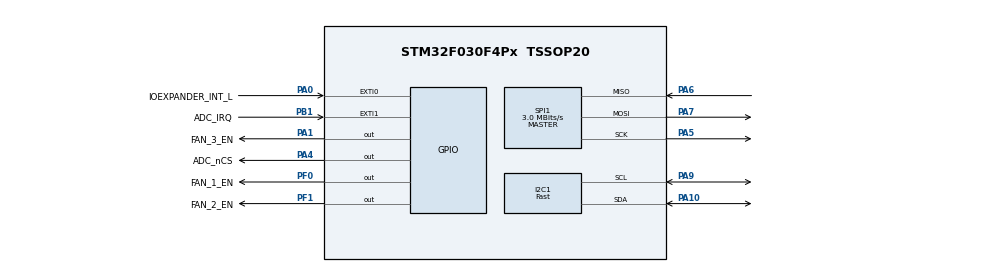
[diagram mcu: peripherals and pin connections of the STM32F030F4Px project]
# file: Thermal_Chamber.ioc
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I2C1.I2C_Speed_Mode=I2C_Fast
I2C1.Speed=400
I2C1.Timing=0x0000020B
Mcu.Family=STM32F0
Mcu.Name=STM32F030F4Px
Mcu.Package=TSSOP20
NVIC.EXTI0_1_IRQn=true\:0\:0\:false\:false\:true\:true\:true\:true
NVIC.SPI1_IRQn=true\:0\:0\:false\:false\:true\:true\:true\:true
PA0.GPIO_Label=IOEXPANDER_INT_L
PA0.GPIO_ModeDefaultEXTI=GPIO_MODE_IT_FALLING
PA0.GPIO_PuPd=GPIO_PULLUP
PA0.Signal=GPXTI0
PA1.GPIO_Label=FAN_3_EN
PA1.Signal=GPIO_Output
PA10.Mode=I2C
PA10.Signal=I2C1_SDA
PA13.Mode=Serial_Wire
PA13.Signal=SYS_SWDIO
PA14.Mode=Serial_Wire
PA14.Signal=SYS_SWCLK
PA4.GPIO_Label=ADC_nCS
PA4.GPIO_ModeDefaultOutputPP=GPIO_MODE_OUTPUT_PP
PA4.GPIO_PuPd=GPIO_PULLUP
PA4.GPIO_Speed=GPIO_SPEED_FREQ_HIGH
PA4.PinState=GPIO_PIN_SET
PA4.Signal=GPIO_Output
PA5.Mode=Full_Duplex_Master
PA5.Signal=SPI1_SCK
PA6.Mode=Full_Duplex_Master
PA6.Signal=SPI1_MISO
PA7.Mode=Full_Duplex_Master
PA7.Signal=SPI1_MOSI
PA9.Mode=I2C
PA9.Signal=I2C1_SCL
PB1.GPIO_Label=ADC_IRQ
PB1.GPIO_ModeDefaultEXTI=GPIO_MODE_IT_FALLING
PB1.GPIO_PuPd=GPIO_PULLUP
PB1.Signal=GPXTI1
PF0-OSC_IN.GPIO_Label=FAN_1_EN
PF0-OSC_IN.Signal=GPIO_Output
PF1-OSC_OUT.GPIO_Label=FAN_2_EN
PF1-OSC_OUT.Signal=GPIO_Output
ProjectManager.HeapSize=0x200
ProjectManager.StackSize=0x400
ProjectManager.TargetToolchain=STM32CubeIDE
RCC.AHBFreq_Value=48000000
RCC.APB1Freq_Value=48000000
RCC.APB1TimFreq_Value=48000000
RCC.HCLKFreq_Value=48000000
RCC.PLLMUL=RCC_PLL_MUL12
RCC.SYSCLKFreq_VALUE=48000000
RCC.SYSCLKSource=RCC_SYSCLKSOURCE_PLLCLK
SPI1.BaudRatePrescaler=SPI_BAUDRATEPRESCALER_16
SPI1.CLKPhase=SPI_PHASE_1EDGE
SPI1.CLKPolarity=SPI_POLARITY_LOW
SPI1.CalculateBaudRate=3.0 MBits/s
SPI1.DataSize=SPI_DATASIZE_8BIT
SPI1.Direction=SPI_DIRECTION_2LINES
SPI1.Mode=SPI_MODE_MASTER
SPI1.NSSPMode=SPI_NSS_PULSE_ENABLE
SPI1.VirtualType=VM_MASTER
board=custom

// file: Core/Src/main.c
/* USER CODE BEGIN Header */
/**
  ******************************************************************************
  * @file           : main.c
  * @brief          : Main program body
  ******************************************************************************
  * @attention
  *
  * Copyright (c) 2024 STMicroelectronics.
  * All rights reserved.
  *
  * This software is licensed under terms that can be found in the LICENSE file
  * in the root directory of this software component.
  * If no LICENSE file comes with this software, it is provided AS-IS.
  *
  ******************************************************************************
  */

/*
 * TO DO:
 * 0. EEPROM Value for DAC!!!!!!!!!!!!!!
 *
 *
 * 1. Humidity Sensor
 * 1.1. Temperature sensor
 * 2. PID
 * 3. FAN thresholds definition
 *
 *
 *
 *
 *
 * 6. Changed GPIO from HAL to LL
 *
 *
 *
 */

/* USER CODE END Header */
#include "main.h"

/* USER CODE BEGIN Includes */

#include "IO_Expander.h"
#include "DAC_MCP4726.h"
#include "ADC_MCP3464.h"

#include "SSD1306.h"
#include "SSD1306_fonts.h"

/* USER CODE END Includes */

I2C_HandleTypeDef hi2c1;

SPI_HandleTypeDef hspi1;

/* USER CODE BEGIN PV */

ADC_Handle_t MyADC;
DAC_Handle_t MyDAC;
Expander_Handle_t MyExpander;

int flag = 0;

typedef enum
{
	StandBy = 0U,
	Heating,
	Cooling
} Mode_of_Operation;

Mode_of_Operation TCCU_Mode = StandBy;

float Voltage = 0;
float VoltageCh1 = 0;
float VoltageCh2 = 0;
float VoltageCh3 = 0;
float VoltageCh4 = 0;

const float ResistanceCh1 = 1000;			// I will remove it, it is bullshit

float ResistanceCh2 = 0;
float ResistanceCh3 = 0;
float ResistanceCh4 = 0;

float ResistanceADCOffset = 0;

float A = 3.9083E-3;
char TempString[4];

int SetPoint = 10;

uint32_t delay = 100;

//it was float, but for easines of manipulation with the number, int is fine, I do not need more precision than +/- 1 degree C
int TemperatureCh2;
int TemperatureCh3;
int TemperatureCh4;

/* USER CODE END PV */

void SystemClock_Config(void);
static void MX_GPIO_Init(void);
static void MX_I2C1_Init(void);
static void MX_SPI1_Init(void);

int main(void)
{

  /* MCU Configuration--------------------------------------------------------*/

  /* Reset of all peripherals, Initializes the Flash interface and the Systick. */
  HAL_Init();

  /* Configure the system clock */
  SystemClock_Config();

  /* Initialize all configured peripherals */
  MX_GPIO_Init();
  MX_I2C1_Init();
  MX_SPI1_Init();
  /* USER CODE BEGIN 2 */

  // Delay is required, because not all part of the system are powered-on when the code starts to execute the stuff
  HAL_Delay(1000);

//-------------------- IO Expander Initialization ----------------------------------//
	MyExpander.ExpanderAddress = 0x40;			//0b1000000
	MyExpander.ConfigReg = 0xF0;				//0b11110000
	MyExpander.PolarityPortReg = 0xF0;			//0b11110000
	Expander_Init(&MyExpander);

	Expander_Write_Single_Bit(&MyExpander, LED_BLUE, PIN_RESET);
	Expander_Write_Single_Bit(&MyExpander, LED_RED, PIN_RESET);
	Expander_Write_Single_Bit(&MyExpander, LED_WHITE, PIN_RESET);
	Expander_Write_Single_Bit(&MyExpander, LED_AMBER, PIN_RESET);
//----------------------------------------------------------------------------------//

//---------------------------- DAC Initialization ----------------------------------//

	MyDAC.DACAddress = 0x63;
	MyDAC.Command = WRITE_VOLATILE_MEMORY << 5;
	MyDAC.Command += VREF_BUFFERED << 3;
	MyDAC.Command += NO_POWERED_DOWN << 1;
	MyDAC.Command += DAC_GAIN_1 << 0;
	MyDAC.DACValue = 0x0080;    // 0x80 - 1.5V
	HAL_I2C_Master_Transmit(&I2C, MyDAC.DACAddress<<1, &MyDAC.Command, 3, 10);

//----------------------------------------------------------------------------------//

/*

//------------------------ I2C Device Checker --------------------------------------//
	if (HAL_I2C_IsDeviceReady(&I2C, 0x3C<<1, 3, 10) == HAL_OK)
	{
		Expander_Write_Single_Bit(&MyExpander, LED_WHITE, PIN_SET);
	}
	else
	{
		Expander_Write_Single_Bit(&MyExpander, LED_RED, PIN_SET);
	}
//----------------------------------------------------------------------------------//
*/

		ssd1306_Init();
		ssd1306_Fill(Black);
		ssd1306_UpdateScreen();

		ssd1306_WriteString("TCCU: StandBy", Font_7x10, White);
		ssd1306_UpdateScreen();
		HAL_Delay(1000);
		ssd1306_SetCursor(0,20);
		ssd1306_WriteString("Set Point:", Font_7x10, White);
		ssd1306_UpdateScreen();

//-------------------------- ADC Initialization ------------------------------------//
	// ADC Configuration:
	MyADC.Config0.ADCMode = ADC_STANDBY_MODE;
	MyADC.Config0.CS_SEL = NO_CURRENT_SOURCE;
	MyADC.Config0.CLK_SEL = EXTERNAL_DIGITAL_CLOCK;

	MyADC.Config1.RESERVED = 0x0;
	MyADC.Config1.OSR = OSR_4096;
	MyADC.Config1.PRE = AMCLK_MCLK_DIV2;

	MyADC.Config2.RESERVED = 0x3;
	MyADC.Config2.AZ_MUX = AZ_MUX_DISABLED;
	MyADC.Config2.GAIN = ADC_GAIN_1;
	MyADC.Config2.BOOST = BOOST_CURRENT_1;

	MyADC.Config3.EN_GAINCAL = GAINCAL_DISABLED;
	MyADC.Config3.EN_OFFCAL = OFFCAL_DISABLED;
	MyADC.Config3.EN_CRCCOM = CRCCOM_DISABLED;
	MyADC.Config3.CRC_FORMAT = CRC_FORMAT_CRC16;
	MyADC.Config3.DATA_FORMAT = ADC_DATA_FORMAT_16BIT;
	MyADC.Config3.CONV_MODE = CONV_MODE_ONE_SHOT_STANDBY;

	MyADC.IRQ.EN_STP = CONVERSATION_START_INTERRUPT_DISABLED;
	MyADC.IRQ.EN_FASTCMD = FAST_COMMAND_ENABLED;
	MyADC.IRQ.IRQ_MODE0 = IRQ_PIN_MODE_LOGIC_HIGH;
	MyADC.IRQ.IRQ_MODE1 = MDAT_PIN_MODE_ALL_SELECTED;

	MyADC.MUX.MUX_VinPlus = MUX_CH0;
	MyADC.MUX.MUX_VinMinus = MUX_CH1;
	MyADC.LOCK = 0xA5;

	ADC_Full_Reset(&MyADC);

	// Put our configuration
	ADC_Init(&MyADC);
//-----------------------------------------------------------------------------------//

	//HAL_GPIO_WritePin(FAN_3_EN_GPIO_Port, FAN_3_EN_Pin, GPIO_PIN_SET);
	//LL_GPIO_SetOutputPin(FAN_3_EN_GPIO_Port, FAN_3_EN_Pin);

  /* USER CODE END 2 */

  /* Infinite loop */
  /* USER CODE BEGIN WHILE */
  while (1)
  {

		MyADC.MUX.MUX_VinPlus = MUX_CH0;
		MyADC.MUX.MUX_VinMinus = MUX_CH1;
		ADC_Incremental_Write(&MyADC, MUX_ADDRESS, 1);
		ADC_Start_Conversion(&MyADC);
		HAL_Delay(delay);
		VoltageCh1 = Voltage;

		MyADC.MUX.MUX_VinPlus = MUX_CH1;
		MyADC.MUX.MUX_VinMinus = MUX_CH2;
		ADC_Incremental_Write(&MyADC, MUX_ADDRESS, 1);
		ADC_Start_Conversion(&MyADC);
		HAL_Delay(delay);
		VoltageCh2 = Voltage;
		// Calculating the resistance
		ResistanceCh2 = ResistanceCh1*VoltageCh2/VoltageCh1;

		  // simplified formula for conversion resistance into the temperature:
		  TemperatureCh2 = (ResistanceCh2 - ResistanceCh1) / (ResistanceCh1 * A);

		MyADC.MUX.MUX_VinPlus = MUX_CH2;
		MyADC.MUX.MUX_VinMinus = MUX_CH3;
		ADC_Incremental_Write(&MyADC, MUX_ADDRESS, 1);
		ADC_Start_Conversion(&MyADC);
		HAL_Delay(delay);
		VoltageCh3 = Voltage;
		ResistanceCh3 = ResistanceCh1*VoltageCh3/VoltageCh1;

		  TemperatureCh3 = (ResistanceCh3 - ResistanceCh1) / (ResistanceCh1 * A);

		MyADC.MUX.MUX_VinPlus = MUX_CH3;
		MyADC.MUX.MUX_VinMinus = MUX_AGND;
		ADC_Incremental_Write(&MyADC, MUX_ADDRESS, 1);
		ADC_Start_Conversion(&MyADC);
		HAL_Delay(delay);
		VoltageCh4 = Voltage;
		ResistanceCh4 = ResistanceCh1*VoltageCh4/VoltageCh1;

		  TemperatureCh4 = (ResistanceCh4 - ResistanceCh1) / (ResistanceCh1 * A);

		MyADC.MUX.MUX_VinPlus = MUX_CH3;
		MyADC.MUX.MUX_VinMinus = MUX_CH3;
		ADC_Incremental_Write(&MyADC, MUX_ADDRESS, 1);
		ADC_Start_Conversion(&MyADC);
		HAL_Delay(delay);
		ResistanceADCOffset = ResistanceCh1*Voltage/VoltageCh1;

//---------------------------Display-------------------------//
		ssd1306_SetCursor(90,20);
		ssd1306_WriteString("Temp:", Font_7x10, White);
		ssd1306_Line(82,20,82,60, White);

//------------------------ t Sensor 1 ----------------------//
		ssd1306_SetCursor(115,34);
		ssd1306_WriteString("C", Font_7x10, White);
		ssd1306_SetCursor(90,34);
		intToStr(TemperatureCh2,TempString);
		ssd1306_WriteString(TempString, Font_7x10, White);
//----------------------------------------------------------//

//------------------------ t Sensor 2 ----------------------//
		ssd1306_SetCursor(115,44);
		ssd1306_WriteString("C", Font_7x10, White);
		ssd1306_SetCursor(90,44);
		intToStr(TemperatureCh3,TempString);
		ssd1306_WriteString(TempString, Font_7x10, White);
//----------------------------------------------------------//

//------------------------ t Sensor 3 ----------------------//
		ssd1306_SetCursor(115,54);
		ssd1306_WriteString("C", Font_7x10, White);
		ssd1306_SetCursor(90,54);
		intToStr(TemperatureCh4,TempString);
		ssd1306_WriteString(TempString, Font_7x10, White);
//----------------------------------------------------------//

//------------------------ Set Point ----------------------//
		ssd1306_SetCursor(25,34);
		ssd1306_WriteString("C", Font_7x10, White);
		ssd1306_SetCursor(0,34);
		intToStr(SetPoint,TempString);
		ssd1306_WriteString(TempString, Font_7x10, White);
//----------------------------------------------------------//

		ssd1306_UpdateScreen();

//----------------------- Operation indication----------------//
		if (TCCU_Mode == Heating)
		{
			if (flag == 0)
			{
				ssd1306_SetCursor(0,0);
				ssd1306_WriteString("TCCU: ON Heating", Font_7x10, White);
				flag = 1;
			}
			else
			{
				ssd1306_SetCursor(0,0);
				ssd1306_WriteString("TCCU: ON        ", Font_7x10, White);
				flag = 0;
			}
			ssd1306_UpdateScreen();
		}
		else if (TCCU_Mode == Cooling)
		{
			if (flag == 0)
			{
				ssd1306_SetCursor(0,0);
				ssd1306_WriteString("TCCU: ON Cooling", Font_7x10, White);
				flag = 1;
			}
			else
			{
				ssd1306_SetCursor(0,0);
				ssd1306_WriteString("TCCU: ON        ", Font_7x10, White);
				flag = 0;
			}
			ssd1306_UpdateScreen();
		}
//-------------------------------------------------------------------------------//

//----------------Thermal control loop-------------------------------------------//

	if (TCCU_Mode == Heating)
	{
		MyDAC.DACValue = 0x00AA;    // 0xAA - 2.0V
		HAL_I2C_Master_Transmit(&I2C, MyDAC.DACAddress<<1, &MyDAC.Command, 3, 10);
	}
	else if (TCCU_Mode == Cooling)
	{
		MyDAC.DACValue = 0x0055;    // 0x75 - 1.4V
		HAL_I2C_Master_Transmit(&I2C, MyDAC.DACAddress<<1, &MyDAC.Command, 3, 10);
	}
	else
	{
		MyDAC.DACValue = 0x0080;    // 0x80 - 1.5V
		HAL_I2C_Master_Transmit(&I2C, MyDAC.DACAddress<<1, &MyDAC.Command, 3, 10);
	}

	//-------------------------------------------------------------------------------//

	  /*
	  Expander_Write_Single_Bit(&MyExpander, LED_BLUE, PIN_SET);
	  HAL_Delay(500);
	  Expander_Write_Single_Bit(&MyExpander, LED_BLUE, PIN_RESET);
	  HAL_Delay(500);
	  */

    /* USER CODE END WHILE */

  }
}

void SystemClock_Config(void)
{
  LL_FLASH_SetLatency(LL_FLASH_LATENCY_1);
  while(LL_FLASH_GetLatency() != LL_FLASH_LATENCY_1)
  {
  }
  LL_RCC_HSI_Enable();

   /* Wait till HSI is ready */
  while(LL_RCC_HSI_IsReady() != 1)
  {

  }
  LL_RCC_HSI_SetCalibTrimming(16);
  LL_RCC_PLL_ConfigDomain_SYS(LL_RCC_PLLSOURCE_HSI_DIV_2, LL_RCC_PLL_MUL_12);
  LL_RCC_PLL_Enable();

   /* Wait till PLL is ready */
  while(LL_RCC_PLL_IsReady() != 1)
  {

  }
  LL_RCC_SetAHBPrescaler(LL_RCC_SYSCLK_DIV_1);
  LL_RCC_SetAPB1Prescaler(LL_RCC_APB1_DIV_1);
  LL_RCC_SetSysClkSource(LL_RCC_SYS_CLKSOURCE_PLL);

   /* Wait till System clock is ready */
  while(LL_RCC_GetSysClkSource() != LL_RCC_SYS_CLKSOURCE_STATUS_PLL)
  {

  }
  LL_SetSystemCoreClock(48000000);

   /* Update the time base */
  if (HAL_InitTick (TICK_INT_PRIORITY) != HAL_OK)
  {
    Error_Handler();
  }
  LL_RCC_SetI2CClockSource(LL_RCC_I2C1_CLKSOURCE_HSI);
}

static void MX_I2C1_Init(void)
{

  hi2c1.Instance = I2C1;
  hi2c1.Init.Timing = 0x0000020B;
  hi2c1.Init.OwnAddress1 = 0;
  hi2c1.Init.AddressingMode = I2C_ADDRESSINGMODE_7BIT;
  hi2c1.Init.DualAddressMode = I2C_DUALADDRESS_DISABLE;
  hi2c1.Init.OwnAddress2 = 0;
  hi2c1.Init.OwnAddress2Masks = I2C_OA2_NOMASK;
  hi2c1.Init.GeneralCallMode = I2C_GENERALCALL_DISABLE;
  hi2c1.Init.NoStretchMode = I2C_NOSTRETCH_DISABLE;
  if (HAL_I2C_Init(&hi2c1) != HAL_OK)
  {
    Error_Handler();
  }

  /** Configure Analogue filter
  */
  if (HAL_I2CEx_ConfigAnalogFilter(&hi2c1, I2C_ANALOGFILTER_ENABLE) != HAL_OK)
  {
    Error_Handler();
  }

  /** Configure Digital filter
  */
  if (HAL_I2CEx_ConfigDigitalFilter(&hi2c1, 0) != HAL_OK)
  {
    Error_Handler();
  }

}

static void MX_SPI1_Init(void)
{

  /* SPI1 parameter configuration*/
  hspi1.Instance = SPI1;
  hspi1.Init.Mode = SPI_MODE_MASTER;
  hspi1.Init.Direction = SPI_DIRECTION_2LINES;
  hspi1.Init.DataSize = SPI_DATASIZE_8BIT;
  hspi1.Init.CLKPolarity = SPI_POLARITY_LOW;
  hspi1.Init.CLKPhase = SPI_PHASE_1EDGE;
  hspi1.Init.NSS = SPI_NSS_SOFT;
  hspi1.Init.BaudRatePrescaler = SPI_BAUDRATEPRESCALER_16;
  hspi1.Init.FirstBit = SPI_FIRSTBIT_MSB;
  hspi1.Init.TIMode = SPI_TIMODE_DISABLE;
  hspi1.Init.CRCCalculation = SPI_CRCCALCULATION_DISABLE;
  hspi1.Init.CRCPolynomial = 7;
  hspi1.Init.CRCLength = SPI_CRC_LENGTH_DATASIZE;
  hspi1.Init.NSSPMode = SPI_NSS_PULSE_ENABLE;
  if (HAL_SPI_Init(&hspi1) != HAL_OK)
  {
    Error_Handler();
  }

}

static void MX_GPIO_Init(void)
{
  GPIO_InitTypeDef GPIO_InitStruct = {0};

  /* GPIO Ports Clock Enable */
  __HAL_RCC_GPIOF_CLK_ENABLE();
  __HAL_RCC_GPIOA_CLK_ENABLE();
  __HAL_RCC_GPIOB_CLK_ENABLE();

  /*Configure GPIO pin Output Level */
  HAL_GPIO_WritePin(GPIOF, FAN_1_EN_Pin|FAN_2_EN_Pin, GPIO_PIN_RESET);

  /*Configure GPIO pin Output Level */
  HAL_GPIO_WritePin(FAN_3_EN_GPIO_Port, FAN_3_EN_Pin, GPIO_PIN_RESET);

  /*Configure GPIO pin Output Level */
  HAL_GPIO_WritePin(ADC_nCS_GPIO_Port, ADC_nCS_Pin, GPIO_PIN_SET);

  /*Configure GPIO pins : FAN_1_EN_Pin FAN_2_EN_Pin */
  GPIO_InitStruct.Pin = FAN_1_EN_Pin|FAN_2_EN_Pin;
  GPIO_InitStruct.Mode = GPIO_MODE_OUTPUT_PP;
  GPIO_InitStruct.Pull = GPIO_NOPULL;
  GPIO_InitStruct.Speed = GPIO_SPEED_FREQ_LOW;
  HAL_GPIO_Init(GPIOF, &GPIO_InitStruct);

  /*Configure GPIO pin : IOEXPANDER_INT_L_Pin */
  GPIO_InitStruct.Pin = IOEXPANDER_INT_L_Pin;
  GPIO_InitStruct.Mode = GPIO_MODE_IT_FALLING;
  GPIO_InitStruct.Pull = GPIO_PULLUP;
  HAL_GPIO_Init(IOEXPANDER_INT_L_GPIO_Port, &GPIO_InitStruct);

  /*Configure GPIO pin : FAN_3_EN_Pin */
  GPIO_InitStruct.Pin = FAN_3_EN_Pin;
  GPIO_InitStruct.Mode = GPIO_MODE_OUTPUT_PP;
  GPIO_InitStruct.Pull = GPIO_NOPULL;
  GPIO_InitStruct.Speed = GPIO_SPEED_FREQ_LOW;
  HAL_GPIO_Init(FAN_3_EN_GPIO_Port, &GPIO_InitStruct);

  /*Configure GPIO pin : ADC_nCS_Pin */
  GPIO_InitStruct.Pin = ADC_nCS_Pin;
  GPIO_InitStruct.Mode = GPIO_MODE_OUTPUT_PP;
  GPIO_InitStruct.Pull = GPIO_PULLUP;
  GPIO_InitStruct.Speed = GPIO_SPEED_FREQ_HIGH;
  HAL_GPIO_Init(ADC_nCS_GPIO_Port, &GPIO_InitStruct);

  /*Configure GPIO pin : ADC_IRQ_Pin */
  GPIO_InitStruct.Pin = ADC_IRQ_Pin;
  GPIO_InitStruct.Mode = GPIO_MODE_IT_FALLING;
  GPIO_InitStruct.Pull = GPIO_PULLUP;
  HAL_GPIO_Init(ADC_IRQ_GPIO_Port, &GPIO_InitStruct);

  /* EXTI interrupt init*/
  HAL_NVIC_SetPriority(EXTI0_1_IRQn, 0, 0);
  HAL_NVIC_EnableIRQ(EXTI0_1_IRQn);

}

/* USER CODE BEGIN 4 */

void HAL_GPIO_EXTI_Callback(uint16_t GPIO_Pin)
{

	if (GPIO_Pin == IOEXPANDER_INT_L_Pin)
	{

		if (Expander_Read_Byte(&MyExpander) & (1<<BUTTON_INCREASE))
		{
			if (SetPoint <85 && TCCU_Mode == StandBy)
			{
				SetPoint += 5;

			}

			ssd1306_SetCursor(0,34);
			intToStr(SetPoint,TempString);
			ssd1306_WriteString(TempString, Font_7x10, White);
			ssd1306_UpdateScreen();
		}
		else if (Expander_Read_Byte(&MyExpander) & (1<<BUTTON_DECREASE))
		{
			if (SetPoint > -40 && TCCU_Mode == StandBy)
			{
				SetPoint -= 5;
			}

			ssd1306_SetCursor(0,34);
			intToStr(SetPoint,TempString);
			ssd1306_WriteString(TempString, Font_7x10, White);
			ssd1306_UpdateScreen();
		}
		else if (Expander_Read_Byte(&MyExpander) & (1<<BUTTON_STARTSTOP))
		{
			if (TCCU_Mode == StandBy)
			{
				// if we are gonna heat
				if (SetPoint > TemperatureCh2)
				{
					TCCU_Mode = Heating;
					ssd1306_SetCursor(0,0);
					ssd1306_WriteString("TCCU: ON Heating", Font_7x10, White);
					ssd1306_UpdateScreen();
				}
				else
				{
					TCCU_Mode = Cooling;
					ssd1306_SetCursor(0,0);
					ssd1306_WriteString("TCCU: ON Cooling", Font_7x10, White);
					ssd1306_UpdateScreen();
				}
			}
			else
			{
				TCCU_Mode = StandBy;
				ssd1306_SetCursor(0,0);
				ssd1306_WriteString("TCCU: StandBy     ", Font_7x10, White);
				ssd1306_UpdateScreen();
			}
		}

	}
	else if (GPIO_Pin == ADC_IRQ_Pin)
	{
		//Expander_Write_Single_Bit(&MyExpander, LED_AMBER, PIN_SET);
		ADC_Get_Measured_DATA(&MyADC);
		ADC_Proccess_Data();
	}

}

void intToStr(int N, char *str) {
    int i = 0;

    if (N == 0)
    {
    	str[i++] = '0';
    	str[i++] = ' ';
    	str[i++] = ' ';
    }
    else
    {

		// Save the copy of the number for sign
		int sign = N;

		// If the number is negative, make it positive
		if (N < 0)
			N = -N;

		// Extract digits from the number and add them to the
		// string
		while (N > 0) {

			// Convert integer digit to character and store
			// it in the str
			str[i++] = N % 10 + '0';
			N /= 10;
		}

		// If the number was negative, add a minus sign to the
		// string
		if (sign < 0) {
			str[i++] = '-';
		}
		else
		{
			str[i++] = '+';
		}
		// Null-terminate the string
		if (i<3)
		{
			str[i++] = ' ';
		}
		str[i] = '\0';
    }
	// Reverse the string to get the correct order
	for (int j = 0, k = i - 1; j < k; j++, k--) {
		char temp = str[j];
		str[j] = str[k];
		str[k] = temp;
	}

}

/* USER CODE END 4 */

void Error_Handler(void)
{
  __disable_irq();
  while (1)
  {
  }
}
